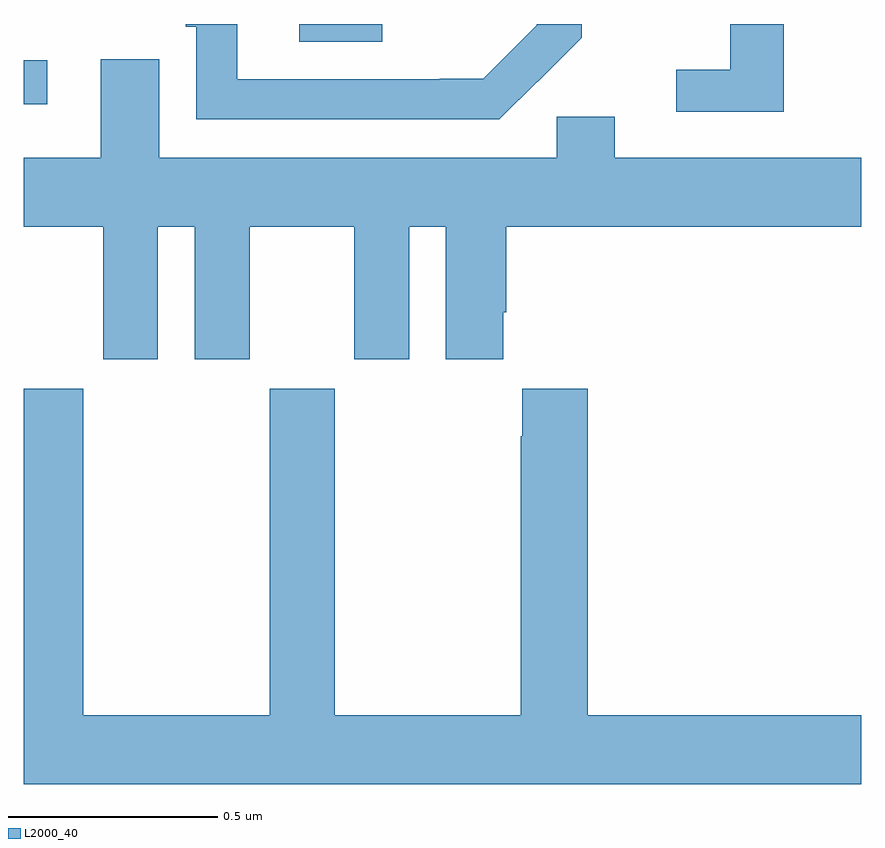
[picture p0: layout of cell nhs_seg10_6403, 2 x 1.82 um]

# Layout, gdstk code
import gdstk
lib = gdstk.Library(unit=1e-6, precision=1e-09)
def R(c, l, rs):  # rectangles x0, y0, x1, y1
    for r in rs: c.add(gdstk.rectangle(r[:2], r[2:], *l))
def P(c, l, *ps):  # polygons
    for p in ps: c.add(gdstk.Polygon(p, *l))
L2000_40 = (2000, 40)

nhs_seg10_6403 = lib.new_cell('nhs_seg10_6403')
R(nhs_seg10_6403, L2000_40, [(191,1267.308,191.056,1267.413), (191.658,1267.458,191.856,1267.5)])
P(nhs_seg10_6403, L2000_40, [(192.227,1267.363),(192.228,1267.362),(192.333,1267.467),(192.333,1267.5),(192.225,1267.5),(192.225,1267.497),(192.097,1267.369),(191.993,1267.369),(191.993,1267.368),(191.509,1267.368),(191.509,1267.5),(191.387,1267.5),(191.387,1267.494),(191.412,1267.494),(191.412,1267.272),(192.136,1267.272)],
  [(192.815,1267.5),(192.687,1267.5),(192.687,1267.391),(192.558,1267.391),(192.558,1267.29),(192.815,1267.29)],
  [(191.32,1267.016),(191.408,1267.016),(191.408,1266.699),(191.539,1266.699),(191.539,1267.016),(191.789,1267.016),(191.789,1266.699),(191.92,1266.699),(191.92,1267.016),(192.008,1267.016),(192.008,1266.699),(192.145,1266.699),(192.145,1266.811),(192.152,1266.811),(192.152,1267.016),(193,1267.016),(193,1267.18),(192.412,1267.18),(192.412,1267.278),(192.273,1267.278),(192.273,1267.18),(191.323,1267.18),(191.323,1267.416),(191.183,1267.416),(191.183,1267.18),(191,1267.18),(191,1267.016),(191.189,1267.016),(191.189,1266.699),(191.32,1266.699)],
  [(193,1265.848),(192.347,1265.848),(192.347,1266.628),(192.191,1266.628),(192.191,1266.515),(192.187,1266.515),(192.187,1265.848),(191.742,1265.848),(191.742,1266.628),(191.587,1266.628),(191.587,1265.848),(191.142,1265.848),(191.142,1266.628),(191,1266.628),(191,1265.684),(193,1265.684)])

lib.write_gds('nhs_seg10_6403.gds')
